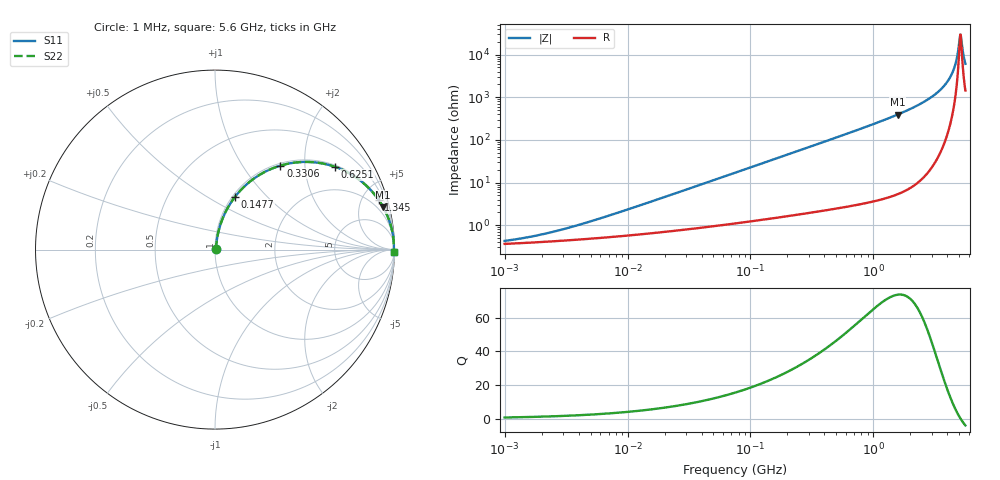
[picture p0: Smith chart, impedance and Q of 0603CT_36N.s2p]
# MHz  S  MA  R  50
!Freq  MagS11  AngS11  MagS21  AngS21  MagS12  AngS12  MagS22  AngS22
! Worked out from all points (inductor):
!   869 points, 1 MHz to 5.6 GHz, reference 50 ohm
!   read as one part in series: L = 36 nH near 6.892 MHz
!   highest Q = 73.8 at 1.577 GHz (marker M1), where L = 39.8 nH
!   self-resonance near 5.102 GHz
!   S11 on the Smith chart (normalised r, x): 1 MHz: 1.01, +0.00; 147.7 MHz: 1.03, +0.67; 330.6 MHz: 1.04, +1.50; 625.1 MHz: 1.05, +2.87; 1.345 GHz: 1.09, +6.54; 5.6 GHz: open
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1  0.004268 31.7  0.9964 -0.1  0.9964 -0.1  0.004268 31.7
1.986894  0.006012 47.9  0.996 -0.3  0.996 -0.3  0.006012 47.9
4.232522  0.01059 63.5  0.9953 -0.5  0.9953 -0.5  0.01059 63.5
17.91424  0.04077 78.3  0.9925 -2.3  0.9925 -2.3  0.04077 78.3
75.0717  0.166 76.8  0.9755 -9.5  0.9755 -9.5  0.166 76.8
147.6827  0.3133 69.3  0.9363 -18.2  0.9363 -18.2  0.3133 69.3
317.7426  0.5777 53.1  0.8004 -35.3  0.8004 -35.3  0.5777 53.1
330.6442  0.593 52.1  0.7893 -36.4  0.7893 -36.4  0.593 52.1
625.0703  0.8133 34.5  0.5665 -54.4  0.5665 -54.4  0.8133 34.5
1331.537  0.9516 17.1  0.2944 -72.1  0.2944 -72.1  0.9516 17.1
1344.852  0.9526 16.9  0.2914 -72.3  0.2914 -72.3  0.9526 16.9
1576.945  0.9662 14.2  0.245 -75.0  0.245 -75.0  0.9662 14.2
2698.801  0.991 6.7  0.117 -82.2  0.117 -82.2  0.991 6.7
3747.798  0.9962 3.1  0.05426 -84.4  0.05426 -84.4  0.9962 3.1
4139.9  0.9968 2.1  0.03657 -83.9  0.03657 -83.9  0.9968 2.1
4482.919  0.9969 1.3  0.02273 -81.6  0.02273 -81.6  0.9969 1.3
4711.592  0.9969 0.8  0.01425 -77.1  0.01425 -77.1  0.9969 0.8
4951.931  0.9968 0.3  0.006224 -58.7  0.006224 -58.7  0.9968 0.3
5101.979  0.9967 0.0  0.00335 -3.2  0.00335 -3.2  0.9967 0.0
5256.575  0.9965 -0.3  0.006064 54.5  0.006064 54.5  0.9965 -0.3
5415.854  0.9963 -0.6  0.01074 69.5  0.01074 69.5  0.9963 -0.6
5600  0.996 -0.9  0.01633 75.4  0.01633 75.4  0.996 -0.9
